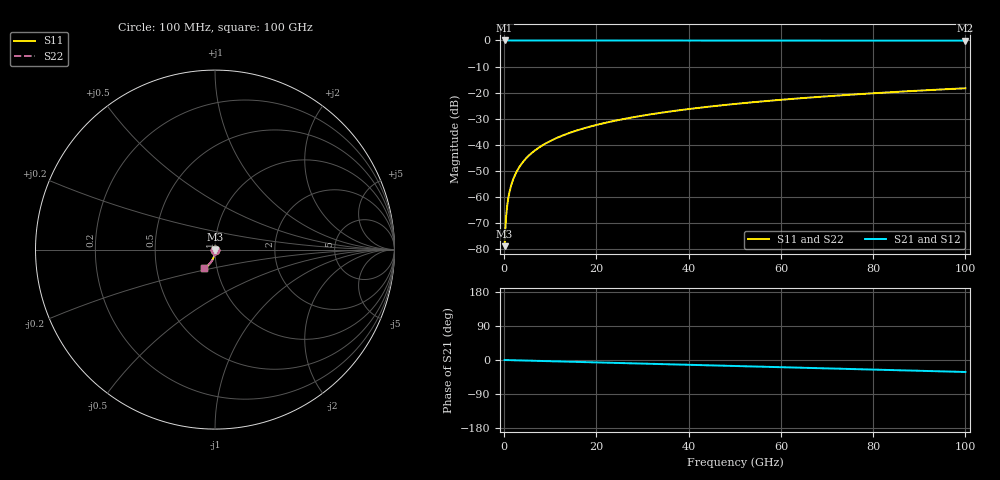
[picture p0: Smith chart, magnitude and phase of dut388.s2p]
! Touchstone file exported from HFSS 2026.1.0
!  File:  C:/ffzhzh/LocalFiles/Ansys_Project_Files/temp_train_TSV_388_1783510630_44152.aedt
!  Generated:  07:38:18 PM Jul  8, 2026
!  Design:  TSV
!  Project:  temp_train_TSV_388_1783510630_44152
! Variables:
!  h_bsmrdl = 2um
!  h_ox = 20um
!  h_rdl = 5um
!  h_sub = 61.02um
!  h_tmrdl = 5um
!  h_tsv = 61.02um
!  h_via = 3um
!  l_bsmrdl = 300um
!  l_sub = 425.8um
!  l_tmrdl = 200um
!  m_sub = 200um
!  pitch = 42.05um
!  r_tsv = 12.9um
!  s_tmrdl = 10um
!  w_bsmrdl = 18um
!  w_sub = 500um
!  w_tmrdl = 12um
!  x_tsv_center1 = 206um
!  x_tsv_center2 = 524um
!  x_tsv_center3 = 736um
!  x_tsv_center4 = 1054um
!  x_tsv_center5 = 1266um
!  x_tsv_center6 = 1584um
# GHz S MA R 50.000000
! Terminal data exported
! Port[1] = TSV1_1_T1
! Port[2] = TSV1_1_T2
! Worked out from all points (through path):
!   1000 points, 100 MHz to 100 GHz, reference 50 ohm
!   highest |S21| = 0.00 dB at 100 MHz (marker M1); lowest = -0.1 dB at 100 GHz (marker M2)
!   group delay of S21, straight-line fit = 877 fs
!   lowest |S11| = -78.9 dB at 100 MHz (marker M3), VSWR 1.00, Z = 50 - j0.00851 ohm
!   |S11| at or under -10 dB: start of sweep to end of sweep
!   |S22| runs from -78.9 to -18.3 dB; largest |S21 - S12| = 2.1e-15
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0.1  0.0001136 -48.5  0.9999 -0.0  0.9999 -0.0  0.0001136 -48.5
! Gamma 0 0 0 0
! Port Impedance 50 0 50 0
0.4  0.0003908 -71.8  0.9999 -0.1  0.9999 -0.1  0.0003908 -71.8
0.7  0.0007199 -76.5  0.9998 -0.2  0.9998 -0.2  0.0007199 -76.5
0.8  0.0008332 -77.6  0.9998 -0.3  0.9998 -0.3  0.0008332 -77.6
1.1  0.001176 -79.9  0.9998 -0.4  0.9998 -0.4  0.001176 -79.9
1.4  0.001522 -81.4  0.9998 -0.5  0.9998 -0.5  0.001522 -81.4
1.8  0.001985 -82.8  0.9997 -0.6  0.9997 -0.6  0.001985 -82.8
2.4  0.002685 -84.1  0.9997 -0.8  0.9997 -0.8  0.002685 -84.1
3  0.003391 -85.1  0.9996 -1.0  0.9996 -1.0  0.003391 -85.1
3.8  0.004341 -86.0  0.9996 -1.2  0.9996 -1.2  0.004341 -86.0
4.8  0.005537 -86.9  0.9995 -1.5  0.9995 -1.5  0.005537 -86.9
5.9  0.006857 -87.8  0.9995 -1.9  0.9995 -1.9  0.006857 -87.8
8.7  0.01023 -89.4  0.9993 -2.8  0.9993 -2.8  0.01023 -89.4
12.3  0.01459 -91.0  0.9992 -3.9  0.9992 -3.9  0.01459 -91.0
16.8  0.02006 -92.9  0.9989 -5.3  0.9989 -5.3  0.02006 -92.9
24.1  0.02897 -95.6  0.9986 -7.6  0.9986 -7.6  0.02897 -95.6
33.4  0.04032 -98.9  0.998 -10.6  0.998 -10.6  0.04032 -98.9
41.2  0.04985 -101.5  0.9974 -13.0  0.9974 -13.0  0.04985 -101.5
50.1  0.06071 -104.5  0.9966 -15.8  0.9966 -15.8  0.06071 -104.5
66.7  0.08097 -109.9  0.995 -21.1  0.995 -21.1  0.08097 -109.9
83.4  0.1013 -115.3  0.9928 -26.3  0.9928 -26.3  0.1013 -115.3
100  0.1212 -120.7  0.9902 -31.6  0.9902 -31.6  0.1212 -120.7
